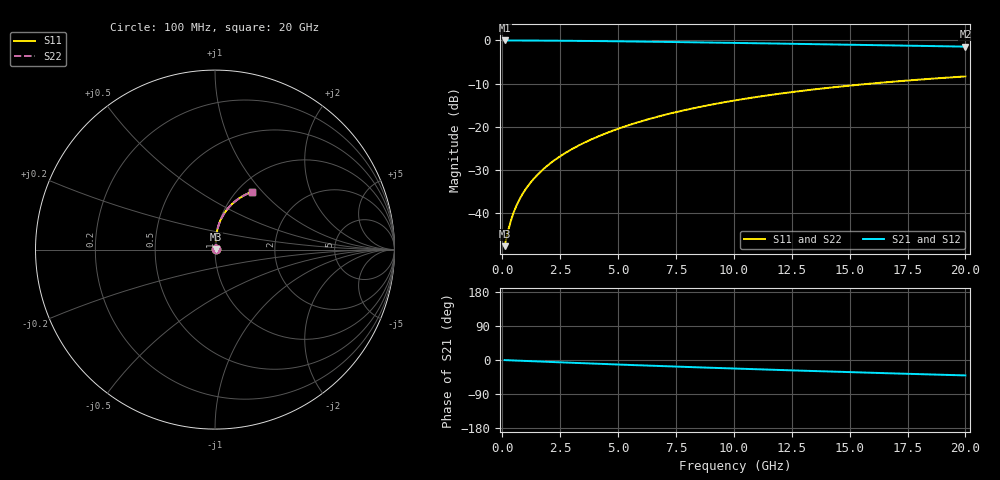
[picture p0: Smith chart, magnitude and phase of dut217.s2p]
! Touchstone file exported from HFSS 2024.1.0
!  File:  C:/UserFiles/LocalFiles/RDL_TSV_Batchsim/temp_RDL_top_217_1778687646.aedt
!  Generated:  11:56:15 PM May 13, 2026
!  Design:  RDL_top
!  Project:  temp_RDL_top_217_1778687646
!  Setup:  Setup1
!  Solution:  Sweep
! Variables:
!  dtsv = 10.80580581um
!  hbump = 3um
!  htsv = 92.17um
!  ldown = 100um
!  lrdl = 527.4um
!  p = 40
!  p1 = 59.63um
!  rhole = 1um
!  t = 450um
!  tdown = 3.915915916um
!  trdl = 2.23um
!  wdown = 15.38538539um
!  wrdl = 25.23um
# GHz S MA R 50.000000
! Terminal data exported
! Port[1] = Box2_T1
! Port[2] = Box2_T2
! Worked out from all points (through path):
!   200 points, 100 MHz to 20 GHz, reference 50 ohm
!   highest |S21| = -0.03 dB at 100 MHz (marker M1); lowest = -1.5 dB at 20 GHz (marker M2)
!   group delay of S21, straight-line fit = 5.61 ps
!   lowest |S11| = -47.6 dB at 100 MHz (marker M3), VSWR 1.01, Z = 50.4 + j0.2 ohm
!   |S11| at or under -10 dB: start of sweep to 15.94 GHz
!   |S22| runs from -47.6 to -8.4 dB; largest |S21 - S12| = 3.5e-15
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0.1  0.004162 28.5  0.9963 -0.3  0.9963 -0.3  0.004162 28.5
! Gamma 0 0 0 0
! Port Impedance 50 0 50 0
0.3  0.007021 56.2  0.996 -0.8  0.996 -0.8  0.007021 56.2
0.4  0.008684 62.2  0.9958 -1.0  0.9958 -1.0  0.008684 62.2
0.5  0.01037 66.1  0.9956 -1.3  0.9956 -1.3  0.01037 66.1
0.6  0.01206 69.0  0.9953 -1.5  0.9953 -1.5  0.01206 69.0
0.8  0.01544 73.0  0.9949 -2.0  0.9949 -2.0  0.01544 73.0
1.1  0.02056 76.8  0.9941 -2.7  0.9941 -2.7  0.02056 76.8
1.3  0.02402 78.5  0.9936 -3.2  0.9936 -3.2  0.02402 78.5
1.6  0.02928 80.4  0.9927 -4.0  0.9927 -4.0  0.02928 80.4
2.1  0.03826 82.4  0.991 -5.2  0.991 -5.2  0.03826 82.4
2.7  0.04935 83.7  0.9883 -6.6  0.9883 -6.6  0.04935 83.7
3.5  0.06467 84.4  0.9841 -8.5  0.9841 -8.5  0.06467 84.4
4.2  0.07853 84.5  0.9799 -10.1  0.9799 -10.1  0.07853 84.5
5  0.09483 84.1  0.9744 -11.9  0.9744 -11.9  0.09483 84.1
5.9  0.1136 83.2  0.9678 -13.9  0.9678 -13.9  0.1136 83.2
6.8  0.1327 82.0  0.9608 -15.9  0.9608 -15.9  0.1327 82.0
8.4  0.1669 79.4  0.9476 -19.3  0.9476 -19.3  0.167 79.3
10.1  0.2029 76.2  0.9331 -22.7  0.9331 -22.7  0.2029 76.2
11.7  0.2359 73.0  0.9191 -25.8  0.9191 -25.8  0.2359 73.0
13.4  0.2694 69.7  0.904 -29.1  0.904 -29.1  0.2694 69.6
16.7  0.3294 63.3  0.8745 -35.0  0.8745 -35.0  0.3294 63.3
20  0.3822 57.3  0.8453 -40.7  0.8453 -40.7  0.3822 57.3
